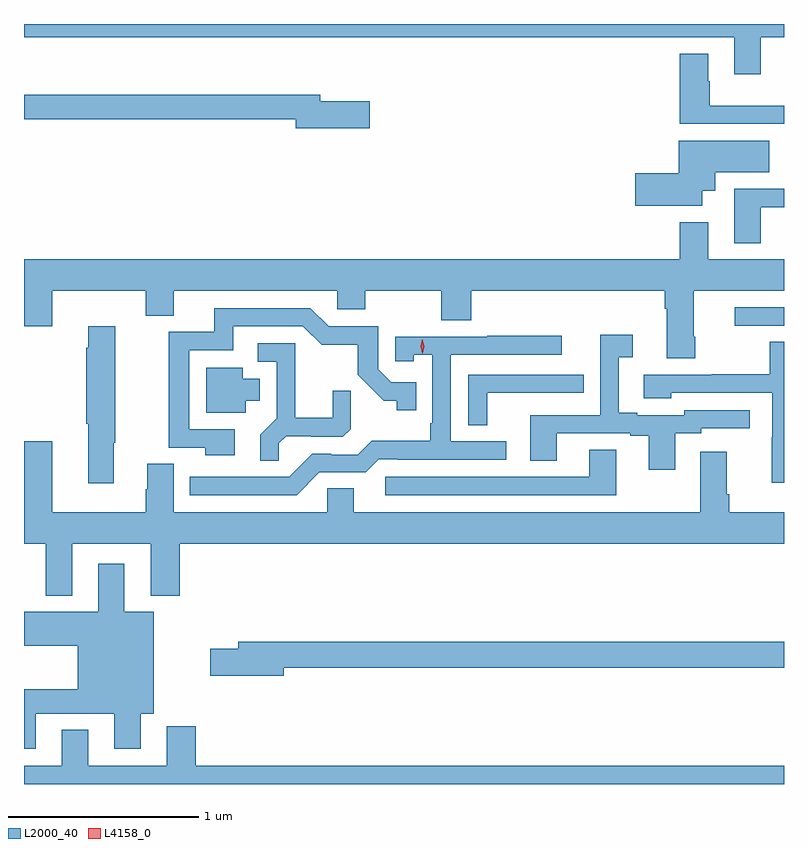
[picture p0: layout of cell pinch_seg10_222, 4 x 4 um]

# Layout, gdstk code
import gdstk
lib = gdstk.Library(unit=1e-6, precision=1e-09)
def R(c, l, rs):  # rectangles x0, y0, x1, y1
    for r in rs: c.add(gdstk.rectangle(r[:2], r[2:], *l))
def P(c, l, *ps):  # polygons
    for p in ps: c.add(gdstk.Polygon(p, *l))
L2000_40 = (2000, 40)
L4158_0 = (4158, 0)

pinch_seg10_222 = lib.new_cell('pinch_seg10_222')
R(pinch_seg10_222, L2000_40, [(624.309,1322.775,624.567,1322.871)])
P(pinch_seg10_222, L2000_40, [(624.445,1324.292),(624.567,1324.292),(624.567,1324.363),(620.567,1324.363),(620.567,1324.292),(624.305,1324.292),(624.305,1324.098),(624.445,1324.098)],
  [(624.567,1323.934),(624.177,1323.934),(624.177,1324.062),(624.169,1324.062),(624.169,1324.207),(624.017,1324.207),(624.017,1323.837),(624.567,1323.837)],
  [(622.387,1323.957),(622.126,1323.957),(622.126,1323.991),(620.567,1323.991),(620.567,1323.862),(621.998,1323.862),(621.998,1323.815),(622.387,1323.815)],
  [(624.136,1323.485),(624.205,1323.485),(624.205,1323.584),(624.49,1323.584),(624.49,1323.748),(624.014,1323.748),(624.014,1323.578),(623.784,1323.578),(623.784,1323.407),(624.136,1323.407)],
  [(624.445,1323.399),(624.567,1323.399),(624.567,1323.495),(624.305,1323.495),(624.305,1323.21),(624.445,1323.21)],
  [(624.099,1322.716),(624.091,1322.716),(624.091,1322.96),(624.567,1322.96),(624.567,1323.124),(624.169,1323.124),(624.169,1323.319),(624.017,1323.319),(624.017,1323.124),(620.567,1323.124),(620.567,1322.772),(620.716,1322.772),(620.716,1322.96),(621.208,1322.96),(621.208,1322.827),(621.355,1322.827),(621.355,1322.96),(622.215,1322.96),(622.215,1322.862),(622.362,1322.862),(622.362,1322.96),(622.762,1322.96),(622.762,1322.803),(622.922,1322.803),(622.922,1322.96),(623.939,1322.96),(623.939,1322.864),(623.951,1322.864),(623.951,1322.604),(624.099,1322.604)],
  [(621.676,1322.229),(621.438,1322.229),(621.438,1322.646),(621.667,1322.646),(621.667,1322.772),(622.035,1322.772),(622.134,1322.674),(622.323,1322.674),(622.323,1322.518),(622.46,1322.381),(622.53,1322.381),(622.53,1322.331),(622.631,1322.331),(622.631,1322.478),(622.5,1322.478),(622.431,1322.547),(622.431,1322.772),(622.17,1322.772),(622.074,1322.868),(621.569,1322.868),(621.569,1322.742),(621.33,1322.742),(621.33,1322.133),(621.52,1322.133),(621.52,1322.093),(621.676,1322.093)],
  [(621.04,1322.159),(621.048,1322.159),(621.048,1322.773),(620.906,1322.773),(620.906,1322.66),(620.894,1322.66),(620.894,1322.259),(620.906,1322.259),(620.906,1321.947),(621.04,1321.947)],
  [(623.995,1322.208),(624.132,1322.208),(624.132,1322.235),(624.388,1322.235),(624.388,1322.331),(624.042,1322.331),(624.042,1322.304),(623.794,1322.304),(623.794,1322.317),(623.698,1322.317),(623.698,1322.608),(623.77,1322.608),(623.77,1322.728),(623.601,1322.728),(623.601,1322.304),(623.231,1322.304),(623.231,1322.065),(623.371,1322.065),(623.371,1322.208),(623.759,1322.208),(623.759,1322.196),(623.855,1322.196),(623.855,1322.016),(623.995,1322.016)],
  [(622.122,1322.004),(622.365,1322.004),(622.434,1322.073),(622.534,1322.073),(622.534,1322.07),(623.104,1322.07),(623.104,1322.166),(622.812,1322.166),(622.812,1322.622),(623.398,1322.622),(623.398,1322.721),(623.005,1322.721),(623.005,1322.718),(622.521,1322.718),(622.521,1322.589),(622.617,1322.589),(622.617,1322.621),(622.716,1322.621),(622.716,1322.263),(622.704,1322.263),(622.704,1322.17),(622.396,1322.17),(622.323,1322.097),(622.184,1322.097),(622.184,1322.1),(622.083,1322.1),(621.963,1321.98),(621.44,1321.98),(621.44,1321.884),(622.002,1321.884)],
  [(624.567,1322.69),(624.492,1322.69),(624.492,1322.52),(624.187,1322.52),(624.187,1322.517),(623.829,1322.517),(623.829,1322.393),(623.973,1322.393),(623.973,1322.421),(624.504,1322.421),(624.504,1322.189),(624.502,1322.189),(624.502,1321.949),(624.567,1321.949)],
  [(621.909,1322.156),(621.946,1322.193),(622.08,1322.193),(622.08,1322.19),(622.245,1322.19),(622.286,1322.231),(622.286,1322.433),(622.192,1322.433),(622.192,1322.29),(621.995,1322.29),(621.995,1322.682),(621.798,1322.682),(621.798,1322.586),(621.897,1322.586),(621.897,1322.287),(621.811,1322.201),(621.811,1322.065),(621.909,1322.065)],
  [(621.733,1322.381),(621.808,1322.381),(621.808,1322.497),(621.718,1322.497),(621.718,1322.554),(621.527,1322.554),(621.527,1322.318),(621.733,1322.318)],
  [(623.004,1322.421),(623.399,1322.421),(623.399,1322.422),(623.512,1322.422),(623.512,1322.517),(622.905,1322.517),(622.905,1322.251),(623.004,1322.251)],
  [(620.821,1321.628),(621.233,1321.628),(621.233,1321.355),(621.386,1321.355),(621.386,1321.628),(624.567,1321.628),(624.567,1321.792),(624.278,1321.792),(624.278,1321.888),(624.265,1321.888),(624.265,1322.113),(624.125,1322.113),(624.125,1321.792),(622.303,1321.792),(622.303,1321.919),(622.164,1321.919),(622.164,1321.792),(621.355,1321.792),(621.355,1322.048),(621.215,1322.048),(621.215,1321.914),(621.208,1321.914),(621.208,1321.792),(620.716,1321.792),(620.716,1322.167),(620.567,1322.167),(620.567,1321.628),(620.681,1321.628),(620.681,1321.355),(620.821,1321.355)],
  [(623.683,1322.123),(623.543,1322.123),(623.543,1321.98),(622.467,1321.98),(622.467,1321.884),(623.683,1321.884)],
  [(620.629,1320.734),(621.041,1320.734),(621.041,1320.549),(621.181,1320.549),(621.181,1320.734),(621.25,1320.734),(621.25,1321.27),(621.094,1321.27),(621.094,1321.522),(620.957,1321.522),(620.957,1321.27),(620.567,1321.27),(620.567,1321.091),(620.849,1321.091),(620.849,1320.862),(620.567,1320.862),(620.567,1320.549),(620.629,1320.549)],
  [(621.934,1320.976),(624.567,1320.976),(624.567,1321.112),(621.695,1321.112),(621.695,1321.076),(621.546,1321.076),(621.546,1320.934),(621.934,1320.934)],
  [(624.567,1320.46),(621.47,1320.46),(621.47,1320.667),(621.317,1320.667),(621.317,1320.46),(620.905,1320.46),(620.905,1320.649),(620.765,1320.649),(620.765,1320.46),(620.567,1320.46),(620.567,1320.363),(624.567,1320.363)])
P(pinch_seg10_222, L4158_0, [(622.664,1322.631),(622.664,1322.631),(622.654,1322.667),(622.663,1322.703),(622.664,1322.703),(622.664,1322.703),(622.674,1322.667),(622.665,1322.631)])

lib.write_gds('pinch_seg10_222.gds')
